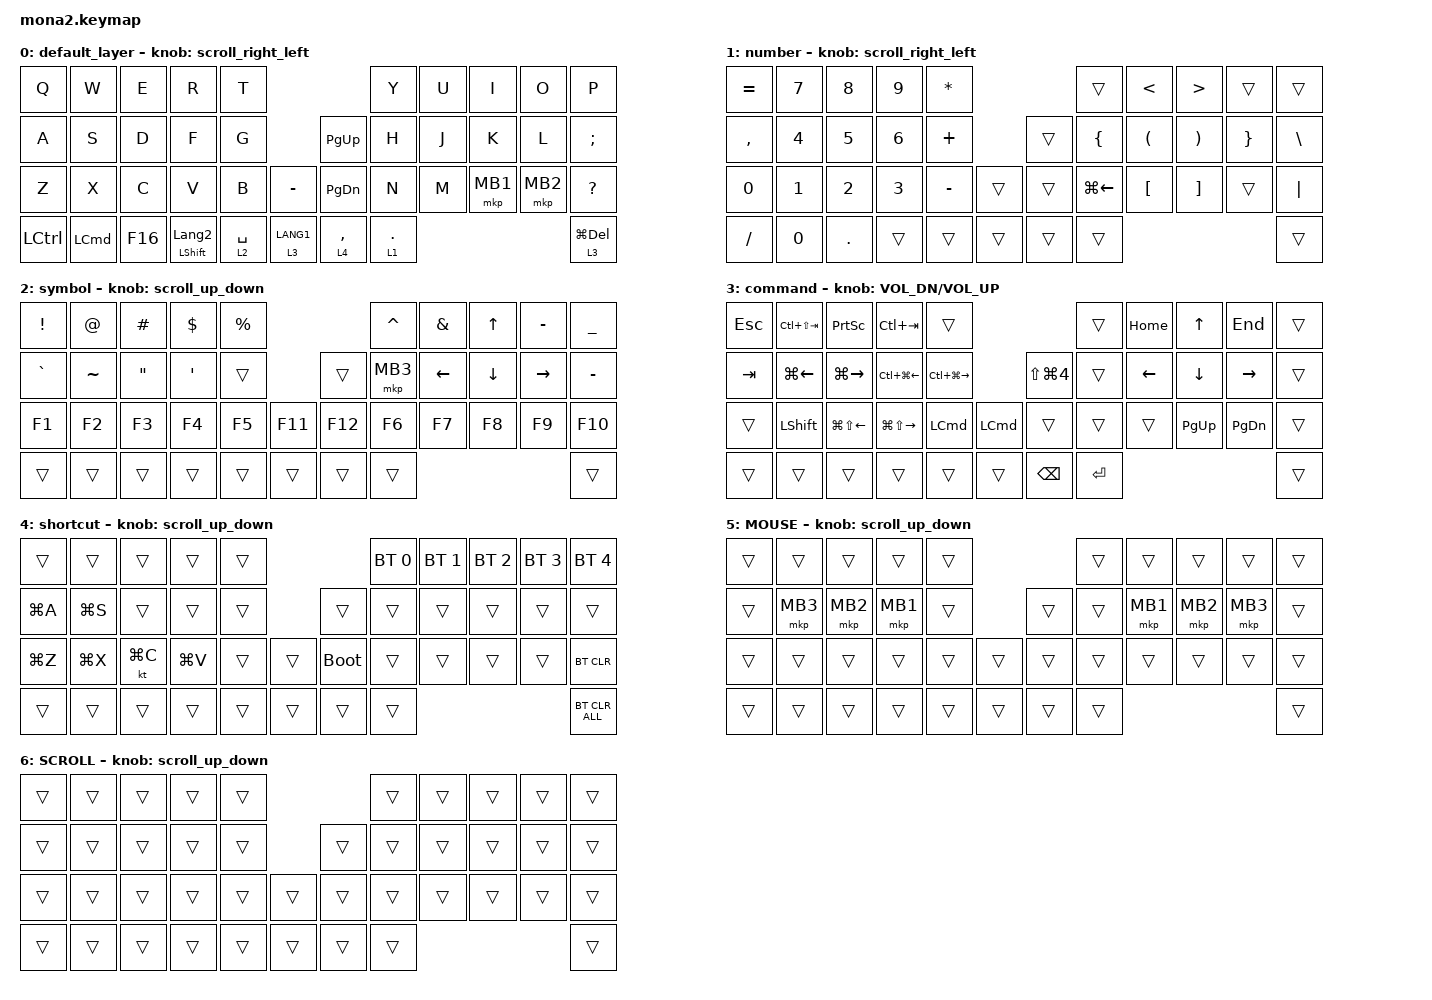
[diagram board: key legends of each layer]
#include <input/processors.dtsi>
#include <dt-bindings/zmk/input_transform.h>
#include <zephyr/dt-bindings/input/input-event-codes.h>
#include <behaviors.dtsi>
#include <dt-bindings/zmk/bt.h>
#include <dt-bindings/zmk/keys.h>
#include <dt-bindings/zmk/pointing.h>

#define ZMK_POINTING_DEFAULT_SCRL_VAL 100
#define MOUSE 5
#define SCROLL 6

&mt {
    flavor = "balanced";
    quick-tap-ms = <0>;
};

&lt {
    quick-tap-ms = <300>;
    flavor = "balanced";
};

/ {
    combos {
        compatible = "zmk,combos";

        layer4_ESC {
            bindings = <&lt 4 ESC>;
            key-positions = <0 1>;
        };
    };

    macros {
        to_layer_0: to_layer_0 {
            compatible = "zmk,behavior-macro-one-param";
            #binding-cells = <1>;
            bindings = <&to 0 &macro_param_1to1 &kp MACRO_PLACEHOLDER>;
            label = "TO_LAYER_0";
        };
    };

    behaviors {
        lt_to_layer_0: lt_to_layer_0 {
            compatible = "zmk,behavior-hold-tap";
            label = "LAYER_TAP_TO_0";
            bindings = <&mo>, <&to_layer_0>;

            #binding-cells = <2>;
            tapping-term-ms = <200>;
        };

        scroll_up_down: mouse_wheel_up_down {
            compatible = "zmk,behavior-sensor-rotate";
            #sensor-binding-cells = <0>;
            bindings = <&msc SCRL_DOWN>, <&msc SCRL_UP>;

            tap-ms = <20>;
        };

        scroll_right_left: mouse_wheel_right_left {
            compatible = "zmk,behavior-sensor-rotate";
            #sensor-binding-cells = <0>;
            bindings = <&msc SCRL_LEFT>, <&msc SCRL_RIGHT>;

            tap-ms = <20>;
        };
    };

    keymap {
        compatible = "zmk,keymap";

        default_layer {
            bindings = <
&kp Q      &kp W             &kp E    &kp R                      &kp T                                                          &kp Y         &kp U  &kp I     &kp O     &kp P
&kp A      &kp S             &kp D    &kp F                      &kp G                                  &kp PAGE_UP             &kp H         &kp J  &kp K     &kp L     &kp SEMICOLON
&kp Z      &kp X             &kp C    &kp V                      &kp B        &kp MINUS                 &kp PAGE_DOWN           &kp N         &kp M  &mkp MB1  &mkp MB2  &kp QUESTION
&kp LCTRL  &kp LEFT_COMMAND  &kp F16  &mt LEFT_SHIFT LANGUAGE_2  &lt 2 SPACE  &lt_to_layer_0 3 LANG1    &lt_to_layer_0 4 COMMA  &lt 1 PERIOD                             &lt_to_layer_0 3 LG(DELETE)
            >;

            sensor-bindings = <&scroll_right_left>;
        };

        number {
            bindings = <
&kp EQUAL     &kp NUMBER_7  &kp NUMBER_8  &kp NUMBER_9  &kp ASTERISK                    &trans          &kp LESS_THAN         &kp GREATER_THAN       &trans           &trans
&kp COMMA     &kp NUMBER_4  &kp NUMBER_5  &kp NUMBER_6  &kp PLUS                &trans  &kp LEFT_BRACE  &kp LEFT_PARENTHESIS  &kp RIGHT_PARENTHESIS  &kp RIGHT_BRACE  &kp BACKSLASH
&kp NUMBER_0  &kp NUMBER_1  &kp NUMBER_2  &kp NUMBER_3  &kp MINUS     &trans    &trans  &kp LG(LEFT)    &kp LEFT_BRACKET      &kp RIGHT_BRACKET      &trans           &kp PIPE
&kp SLASH     &kp NUMBER_0  &kp PERIOD    &trans        &trans        &trans    &trans  &trans                                                                        &trans
            >;

            sensor-bindings = <&scroll_right_left>;
        };

        symbol {
            bindings = <
&kp EXCLAMATION  &kp AT_SIGN  &kp POUND          &kp DOLLAR  &kp PERCENT                      &kp CARET  &kp AMPERSAND  &kp UP_ARROW  &kp MINUS  &kp UNDERSCORE
&kp GRAVE        &kp TILDE    &kp DOUBLE_QUOTES  &kp SQT     &trans                  &trans   &mkp MB3   &kp LEFT       &kp DOWN      &kp RIGHT  &kp MINUS
&kp F1           &kp F2       &kp F3             &kp F4      &kp F5       &kp F11    &kp F12  &kp F6     &kp F7         &kp F8        &kp F9     &kp F10
&trans           &trans       &trans             &trans      &trans       &trans     &trans   &trans                                             &trans
            >;

            sensor-bindings = <&scroll_up_down>;
        };

        command {
            bindings = <
&kp ESC  &kp LC(LS(TAB))     &kp PRINTSCREEN         &kp LC(TAB)              &trans                                                       &trans     &kp HOME        &kp UP_ARROW    &kp END          &trans
&kp TAB  &kp LG(LEFT_ARROW)  &kp LG(RIGHT_ARROW)     &kp LC(LG(LEFT_ARROW))   &kp LC(LG(RIGHT_ARROW))                      &kp LS(LG(N4))  &trans     &kp LEFT_ARROW  &kp DOWN_ARROW  &kp RIGHT_ARROW  &trans
&trans   &kp LEFT_SHIFT      &kp LG(LS(LEFT_ARROW))  &kp LG(LS(RIGHT_ARROW))  &kp LEFT_COMMAND         &kp LEFT_COMMAND    &trans          &trans     &trans          &kp PAGE_UP     &kp PAGE_DOWN    &trans
&trans   &trans              &trans                  &trans                   &trans                   &trans              &kp BACKSPACE   &kp ENTER                                                   &trans
            >;

            sensor-bindings = <&inc_dec_kp C_VOL_DN C_VOL_UP>;
        };

        shortcut {
            bindings = <
&trans     &trans     &trans     &trans     &trans                         &bt BT_SEL 0  &bt BT_SEL 1  &bt BT_SEL 2  &bt BT_SEL 3  &bt BT_SEL 4
&kp LG(A)  &kp LG(S)  &trans     &trans     &trans            &trans       &trans        &trans        &trans        &trans        &trans
&kp LG(Z)  &kp LG(X)  &kt LG(C)  &kp LG(V)  &trans  &trans    &bootloader  &trans        &trans        &trans        &trans        &bt BT_CLR
&trans     &trans     &trans     &trans     &trans  &trans    &trans       &trans                                                  &bt BT_CLR_ALL
            >;

            sensor-bindings = <&scroll_up_down>;
        };

        MOUSE {
            bindings = <
&trans  &trans    &trans    &trans    &trans                    &trans  &trans    &trans    &trans    &trans
&trans  &mkp MB3  &mkp MB2  &mkp MB1  &trans            &trans  &trans  &mkp MB1  &mkp MB2  &mkp MB3  &trans
&trans  &trans    &trans    &trans    &trans  &trans    &trans  &trans  &trans    &trans    &trans    &trans
&trans  &trans    &trans    &trans    &trans  &trans    &trans  &trans                                &trans
            >;

            sensor-bindings = <&scroll_up_down>;
        };

        SCROLL {
            bindings = <
&trans  &trans  &trans  &trans  &trans                    &trans  &trans  &trans  &trans  &trans
&trans  &trans  &trans  &trans  &trans            &trans  &trans  &trans  &trans  &trans  &trans
&trans  &trans  &trans  &trans  &trans  &trans    &trans  &trans  &trans  &trans  &trans  &trans
&trans  &trans  &trans  &trans  &trans  &trans    &trans  &trans                          &trans
            >;

            sensor-bindings = <&scroll_up_down>;
        };
    };
};
